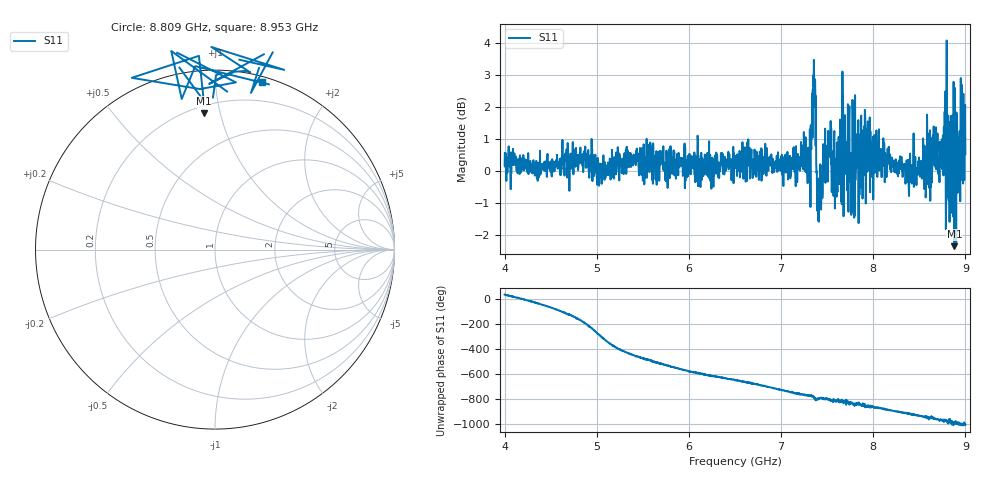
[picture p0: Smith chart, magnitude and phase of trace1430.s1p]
! Created with skrf 1.8.0 (http://scikit-rf.org).
# Hz S RI R 50.0
!freq ReS11 ImS11
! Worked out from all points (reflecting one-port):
!   1601 points, 4 GHz to 9 GHz, reference 50 ohm
!   lowest |S11| = -2.4 dB at 8.881 GHz (marker M1), VSWR 7.39, Z = 12.3 + j44.5 ohm
!   phase of S11 starts at 36 deg and turns -1044 deg over the sweep
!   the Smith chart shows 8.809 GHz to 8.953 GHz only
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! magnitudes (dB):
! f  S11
! 4 GHz  0.2
! 4.625 GHz  0.5
! 4.884 GHz  0.5
! 5.028 GHz  -0.1
! 5.25 GHz  0.5
! 5.875 GHz  0.0
! 6.5 GHz  0.3
! 7.125 GHz  0.4
! 7.294 GHz  0.7
! 7.353 GHz  2.6
! 7.397 GHz  -0.8
! 7.412 GHz  -0.7
! 7.519 GHz  0.8
! 7.588 GHz  0.1
! 7.65 GHz  0.9
! 7.75 GHz  -0.4
! 7.775 GHz  2.2
! 7.8 GHz  -1.4
! 7.928 GHz  0.6
! 7.981 GHz  -0.2
! 8.375 GHz  0.1
! 8.575 GHz  0.2
! 8.775 GHz  1.8
! 8.844 GHz  -1.1
! 8.881 GHz  -2.4
! 8.919 GHz  0.0
! 8.972 GHz  0.6
! 9 GHz  0.5
